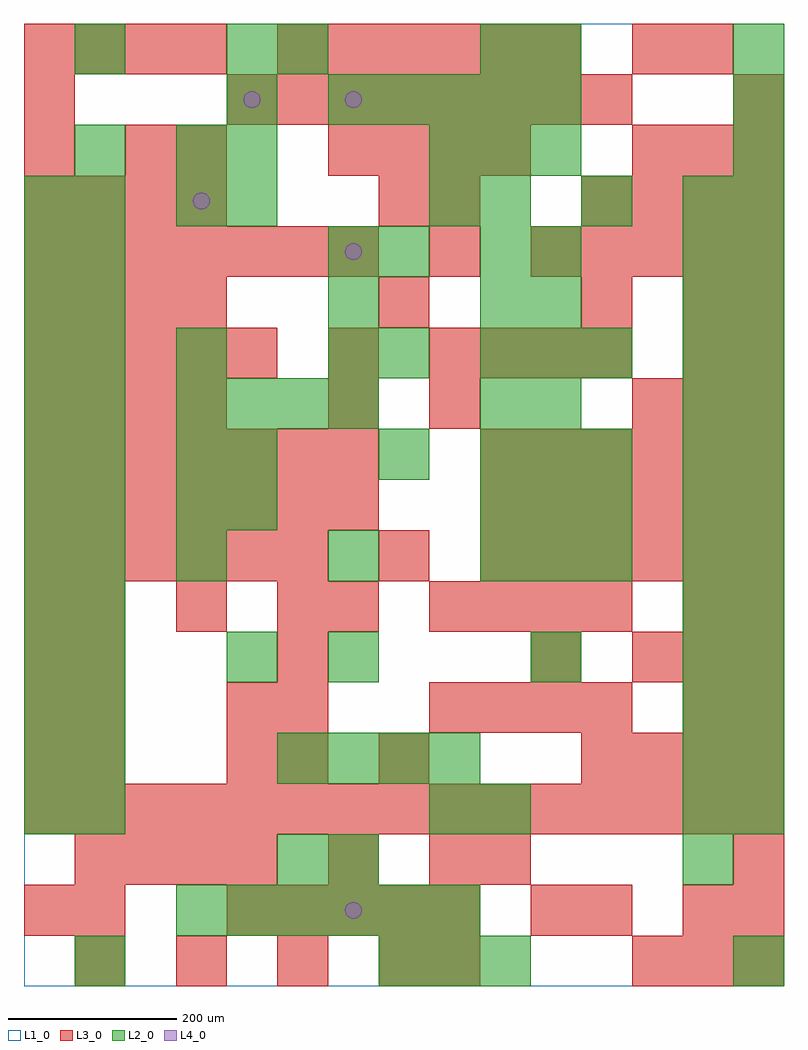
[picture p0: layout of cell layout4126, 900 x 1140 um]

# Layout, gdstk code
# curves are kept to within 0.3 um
import gdstk
lib = gdstk.Library(unit=1e-6, precision=1e-09)
def R(c, l, rs):  # rectangles x0, y0, x1, y1
    for r in rs: c.add(gdstk.rectangle(r[:2], r[2:], *l))
def A(c, l, x, y, w, h, nx, ny, dx, dy):  # array of equal rectangles
    R(c, l, [(x+i*dx, y+j*dy, x+i*dx+w, y+j*dy+h) for i in range(nx) for j in range(ny)])
def P(c, l, *ps):  # polygons
    for p in ps: c.add(gdstk.Polygon(p, *l))
L1_0 = (1, 0)
L2_0 = (2, 0)
L3_0 = (3, 0)
L4_0 = (4, 0)

layout4126 = lib.new_cell('layout4126')
R(layout4126, L1_0, [(0,0,900,1140)])
A(layout4126, L2_0, 420, 0, 60, 60, 3, 1, 60, 0)
A(layout4126, L2_0, 180, 60, 60, 60, 6, 1, 60, 0)
A(layout4126, L2_0, 780, 120, 60, 60, 1, 13, 0, 60)
A(layout4126, L2_0, 0, 180, 60, 60, 1, 13, 0, 60)
A(layout4126, L2_0, 60, 180, 60, 60, 1, 14, 0, 60)
A(layout4126, L2_0, 840, 180, 60, 60, 1, 16, 0, 60)
A(layout4126, L2_0, 300, 240, 60, 60, 4, 1, 60, 0)
A(layout4126, L2_0, 180, 480, 60, 60, 3, 1, 180, 0)
A(layout4126, L2_0, 540, 540, 60, 60, 3, 2, 60, 60)
A(layout4126, L2_0, 420, 600, 60, 60, 1, 3, 0, 120)
A(layout4126, L2_0, 180, 660, 60, 60, 4, 1, 60, 0)
A(layout4126, L2_0, 360, 720, 60, 60, 1, 3, 0, 60)
A(layout4126, L2_0, 540, 720, 60, 60, 3, 1, 60, 0)
A(layout4126, L2_0, 240, 900, 60, 60, 1, 4, 0, 60)
A(layout4126, L2_0, 540, 900, 60, 60, 3, 1, 120, 0)
A(layout4126, L2_0, 480, 960, 60, 60, 3, 1, 60, 0)
A(layout4126, L2_0, 360, 1020, 60, 60, 5, 1, 60, 0)
R(layout4126, L2_0, [(60,0,120,60), (840,0,900,60), (300,120,360,180), (360,120,420,180), (480,180,540,240), (540,180,600,240), (240,360,300,420), (360,360,420,420), (600,360,660,420), (600,480,660,540), (660,480,720,540), (180,540,240,600), (240,540,300,600), (180,600,240,660), (240,600,300,660), (540,660,600,720), (600,660,660,720), (180,720,240,780), (540,780,600,840), (600,780,660,840), (540,840,600,900), (600,840,660,900), (180,900,240,960), (480,900,540,960), (180,960,240,1020), (60,1080,120,1140), (300,1080,360,1140), (540,1080,600,1140), (600,1080,660,1140)])
A(layout4126, L3_0, 60, 0, 60, 60, 4, 1, 120, 0)
A(layout4126, L3_0, 720, 0, 60, 60, 3, 2, 60, 360)
A(layout4126, L3_0, 240, 60, 60, 60, 5, 1, 60, 0)
A(layout4126, L3_0, 60, 120, 60, 60, 4, 1, 60, 0)
A(layout4126, L3_0, 0, 180, 60, 60, 15, 1, 60, 0)
A(layout4126, L3_0, 0, 240, 60, 60, 1, 4, 0, 60)
A(layout4126, L3_0, 60, 240, 60, 60, 1, 3, 0, 60)
A(layout4126, L3_0, 300, 240, 60, 60, 1, 3, 0, 60)
A(layout4126, L3_0, 660, 240, 60, 60, 4, 2, 60, 660)
A(layout4126, L3_0, 480, 300, 60, 60, 4, 2, 60, 120)
A(layout4126, L3_0, 60, 420, 60, 60, 3, 1, 120, 0)
A(layout4126, L3_0, 0, 480, 60, 60, 6, 1, 60, 0)
A(layout4126, L3_0, 540, 480, 60, 60, 6, 3, 60, 60)
A(layout4126, L3_0, 0, 540, 60, 60, 7, 2, 60, 60)
A(layout4126, L3_0, 0, 660, 60, 60, 4, 3, 60, 120)
A(layout4126, L3_0, 720, 660, 60, 60, 3, 2, 60, 300)
A(layout4126, L3_0, 0, 720, 60, 60, 5, 1, 60, 0)
A(layout4126, L3_0, 480, 720, 60, 60, 4, 1, 60, 0)
A(layout4126, L3_0, 0, 840, 60, 60, 7, 1, 60, 0)
A(layout4126, L3_0, 600, 840, 60, 60, 5, 1, 60, 0)
A(layout4126, L3_0, 360, 960, 60, 60, 4, 1, 60, 0)
A(layout4126, L3_0, 240, 1020, 60, 60, 8, 1, 60, 0)
A(layout4126, L3_0, 0, 1080, 60, 60, 4, 1, 60, 0)
A(layout4126, L3_0, 300, 1080, 60, 60, 6, 1, 60, 0)
R(layout4126, L3_0, [(480,0,540,60), (0,60,60,120), (60,60,120,120), (600,60,660,120), (660,60,720,120), (780,60,840,120), (840,60,900,120), (360,120,420,180), (480,120,540,180), (540,120,600,180), (840,120,900,180), (240,240,300,300), (420,240,480,300), (240,300,300,360), (780,300,840,360), (840,300,900,360), (600,360,660,420), (360,420,420,480), (780,420,840,480), (840,420,900,480), (420,480,480,540), (360,660,420,720), (480,660,540,720), (360,720,420,780), (780,720,840,780), (840,720,900,780), (420,780,480,840), (660,780,720,840), (780,780,840,840), (840,780,900,840), (480,840,540,900), (420,900,480,960), (480,900,540,960), (0,960,60,1020), (120,960,180,1020), (180,960,240,1020), (0,1020,60,1080), (840,1020,900,1080), (720,1080,780,1140), (780,1080,840,1140)])
P(layout4126, L4_0, [(220,930),(219.239,933.827),(217.071,937.071),(213.827,939.239),(210,940),(206.173,939.239),(202.929,937.071),(200.761,933.827),(200,930),(200.761,926.173),(202.929,922.929),(206.173,920.761),(210,920),(213.827,920.761),(217.071,922.929),(219.239,926.173)],
  [(280,1050),(279.239,1053.827),(277.071,1057.071),(273.827,1059.239),(270,1060),(266.173,1059.239),(262.929,1057.071),(260.761,1053.827),(260,1050),(260.761,1046.173),(262.929,1042.929),(266.173,1040.761),(270,1040),(273.827,1040.761),(277.071,1042.929),(279.239,1046.173)],
  [(400,90),(399.239,93.827),(397.071,97.071),(393.827,99.239),(390,100),(386.173,99.239),(382.929,97.071),(380.761,93.827),(380,90),(380.761,86.173),(382.929,82.929),(386.173,80.761),(390,80),(393.827,80.761),(397.071,82.929),(399.239,86.173)],
  [(400,870),(399.239,873.827),(397.071,877.071),(393.827,879.239),(390,880),(386.173,879.239),(382.929,877.071),(380.761,873.827),(380,870),(380.761,866.173),(382.929,862.929),(386.173,860.761),(390,860),(393.827,860.761),(397.071,862.929),(399.239,866.173)],
  [(400,1050),(399.239,1053.827),(397.071,1057.071),(393.827,1059.239),(390,1060),(386.173,1059.239),(382.929,1057.071),(380.761,1053.827),(380,1050),(380.761,1046.173),(382.929,1042.929),(386.173,1040.761),(390,1040),(393.827,1040.761),(397.071,1042.929),(399.239,1046.173)])

lib.write_gds('layout4126.gds')
